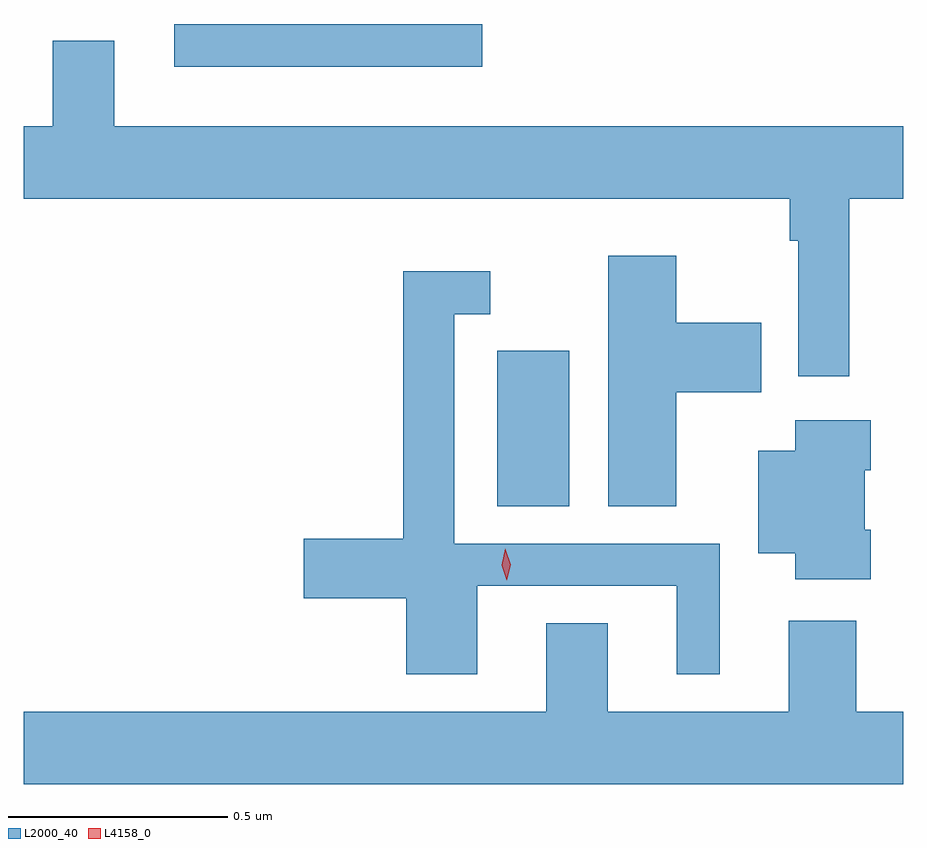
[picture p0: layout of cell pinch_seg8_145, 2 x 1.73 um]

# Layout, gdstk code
import gdstk
lib = gdstk.Library(unit=1e-6, precision=1e-09)
def R(c, l, rs):  # rectangles x0, y0, x1, y1
    for r in rs: c.add(gdstk.rectangle(r[:2], r[2:], *l))
def P(c, l, *ps):  # polygons
    for p in ps: c.add(gdstk.Polygon(p, *l))
L2000_40 = (2000, 40)
L4158_0 = (4158, 0)

pinch_seg8_145 = lib.new_cell('pinch_seg8_145')
R(pinch_seg8_145, L2000_40, [(804.914,1145.104,805.078,1145.458), (804.179,1146.104,804.88,1146.201)])
P(pinch_seg8_145, L2000_40, [(805.715,1145.804),(805.837,1145.804),(805.837,1145.968),(804.043,1145.968),(804.043,1146.163),(803.903,1146.163),(803.903,1145.968),(803.837,1145.968),(803.837,1145.804),(805.579,1145.804),(805.579,1145.708),(805.599,1145.708),(805.599,1145.4),(805.715,1145.4)],
  [(805.321,1145.363),(805.514,1145.363),(805.514,1145.521),(805.321,1145.521),(805.321,1145.674),(805.166,1145.674),(805.166,1145.104),(805.321,1145.104)],
  [(804.868,1144.923),(805.322,1144.923),(805.322,1144.722),(805.42,1144.722),(805.42,1145.019),(804.816,1145.019),(804.816,1145.541),(804.898,1145.541),(804.898,1145.638),(804.7,1145.638),(804.7,1145.03),(804.474,1145.03),(804.474,1144.895),(804.707,1144.895),(804.707,1144.722),(804.868,1144.722)],
  [(805.763,1145.05),(805.75,1145.05),(805.75,1145.186),(805.763,1145.186),(805.763,1145.299),(805.592,1145.299),(805.592,1145.23),(805.508,1145.23),(805.508,1144.997),(805.592,1144.997),(805.592,1144.938),(805.763,1144.938)],
  [(805.837,1144.636),(805.73,1144.636),(805.73,1144.843),(805.577,1144.843),(805.577,1144.636),(805.165,1144.636),(805.165,1144.838),(805.025,1144.838),(805.025,1144.636),(803.837,1144.636),(803.837,1144.472),(805.837,1144.472)])
P(pinch_seg8_145, L4158_0, [(804.935,1144.935),(804.935,1144.935),(804.924,1144.97),(804.932,1145.007),(804.932,1145.007),(804.932,1145.007),(804.944,1144.971),(804.935,1144.935)])

lib.write_gds('pinch_seg8_145.gds')
